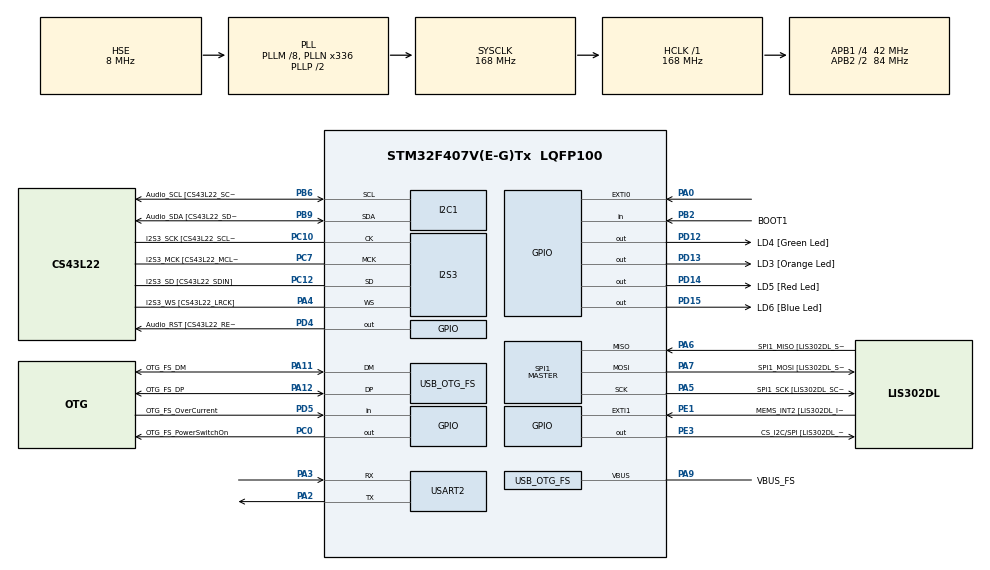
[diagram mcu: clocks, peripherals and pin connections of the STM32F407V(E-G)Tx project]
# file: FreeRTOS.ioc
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FREERTOS.Tasks01=defaultTask,24,128,StartDefaultTask,Default,NULL,Dynamic,NULL,NULL
I2S3.AudioFreq-Half_Duplex_Master=I2S_AUDIOFREQ_96K
I2S3.ErrorAudioFreq=-2.34 %
I2S3.ErrorAudioFreq-Half_Duplex_Master=0.8 %
I2S3.FullDuplexMode=I2S_FULLDUPLEXMODE_DISABLE
I2S3.Instance=SPI$Index
I2S3.RealAudioFreq=93.75 KHz
I2S3.RealAudioFreq-Half_Duplex_Master=96.774 KHz
I2S3.VirtualMode=I2S_MODE_MASTER
Mcu.Family=STM32F4
Mcu.Name=STM32F407V(E-G)Tx
Mcu.Package=LQFP100
NVIC.EXTI0_IRQn=true\:0\:0\:false\:false\:true\:false\:true\:true
NVIC.OTG_FS_IRQn=true\:0\:0\:false\:false\:true\:false\:true\:true
NVIC.PriorityGroup=NVIC_PRIORITYGROUP_4
NVIC.TIM4_IRQn=true\:0\:0\:false\:false\:true\:false\:false\:true
NVIC.TIM7_IRQn=true\:0\:0\:false\:false\:true\:false\:true\:true
NVIC.TimeBase=TIM4_IRQn
NVIC.TimeBaseIP=TIM4
NVIC.USART2_IRQn=true\:0\:0\:false\:false\:true\:false\:true\:true
PA0-WKUP.Signal=GPXTI0
PA10.GPIO_Label=OTG_FS_ID
PA10.GPIO_Mode=GPIO_MODE_AF_PP
PA10.GPIO_PuPd=GPIO_NOPULL
PA10.GPIO_Speed=GPIO_SPEED_FREQ_LOW
PA10.Signal=USB_OTG_FS_ID
PA11.GPIO_Label=OTG_FS_DM
PA11.GPIO_Mode=GPIO_MODE_AF_PP
PA11.GPIO_PuPd=GPIO_NOPULL
PA11.GPIO_Speed=GPIO_SPEED_FREQ_LOW
PA11.Mode=Host_Only
PA11.Signal=USB_OTG_FS_DM
PA12.GPIO_Label=OTG_FS_DP
PA12.GPIO_Mode=GPIO_MODE_AF_PP
PA12.GPIO_PuPd=GPIO_NOPULL
PA12.GPIO_Speed=GPIO_SPEED_FREQ_LOW
PA12.Mode=Host_Only
PA12.Signal=USB_OTG_FS_DP
PA13.GPIO_Label=SWDIO
PA13.Mode=Serial_Wire
PA13.Signal=SYS_JTMS-SWDIO
PA14.GPIO_Label=SWCLK
PA14.Mode=Serial_Wire
PA14.Signal=SYS_JTCK-SWCLK
PA2.Mode=Asynchronous
PA2.Signal=USART2_TX
PA3.Mode=Asynchronous
PA3.Signal=USART2_RX
PA4.GPIO_Label=I2S3_WS [CS43L22_LRCK]
PA4.GPIO_Mode=GPIO_MODE_AF_PP
PA4.GPIO_PuPd=GPIO_NOPULL
PA4.GPIO_Speed=GPIO_SPEED_FREQ_LOW
PA4.Mode=Half_Duplex_Master
PA4.Signal=I2S3_WS
PA5.GPIO_Label=SPI1_SCK [LIS302DL_SCL/SPC]
PA5.GPIO_Mode=GPIO_MODE_AF_PP
PA5.GPIO_PuPd=GPIO_NOPULL
PA5.GPIO_Speed=GPIO_SPEED_FREQ_LOW
PA5.Mode=Full_Duplex_Master
PA5.Signal=SPI1_SCK
PA6.GPIO_Label=SPI1_MISO [LIS302DL_SDO]
PA6.GPIO_Mode=GPIO_MODE_AF_PP
PA6.GPIO_PuPd=GPIO_NOPULL
PA6.GPIO_Speed=GPIO_SPEED_FREQ_LOW
PA6.Mode=Full_Duplex_Master
PA6.Signal=SPI1_MISO
PA7.GPIO_Label=SPI1_MOSI [LIS302DL_SDA/SDI/SDO]
PA7.GPIO_Mode=GPIO_MODE_AF_PP
PA7.GPIO_PuPd=GPIO_NOPULL
PA7.GPIO_Speed=GPIO_SPEED_FREQ_LOW
PA7.Mode=Full_Duplex_Master
PA7.Signal=SPI1_MOSI
PA9.GPIO_Label=VBUS_FS
PA9.GPIO_Mode=GPIO_MODE_INPUT
PA9.GPIO_PuPd=GPIO_NOPULL
PA9.Mode=Activate_VBUS
PA9.Signal=USB_OTG_FS_VBUS
PB10.GPIO_Label=CLK_IN [MP45DT02_CLK]
PB10.GPIO_Mode=GPIO_MODE_AF_PP
PB10.GPIO_PuPd=GPIO_NOPULL
PB10.GPIO_Speed=GPIO_SPEED_FREQ_LOW
PB10.Signal=I2S2_CK
PB2.GPIO_Label=BOOT1
PB2.GPIO_Mode=GPIO_MODE_INPUT
PB2.GPIO_PuPd=GPIO_NOPULL
PB2.Signal=GPIO_Input
PB3.GPIO_Label=SWO
PB3.Signal=SYS_JTDO-SWO
PB6.GPIO_Label=Audio_SCL [CS43L22_SCL]
PB6.GPIO_Mode=GPIO_MODE_AF_OD
PB6.GPIO_PuPd=GPIO_NOPULL
PB6.GPIO_Speed=GPIO_SPEED_FREQ_LOW
PB6.Mode=I2C
PB6.Signal=I2C1_SCL
PB9.GPIO_Label=Audio_SDA [CS43L22_SDA]
PB9.GPIO_Mode=GPIO_MODE_AF_OD
PB9.GPIO_PuPd=GPIO_NOPULL
PB9.GPIO_Speed=GPIO_SPEED_FREQ_LOW
PB9.Mode=I2C
PB9.Signal=I2C1_SDA
PC0.GPIO_Label=OTG_FS_PowerSwitchOn
PC0.GPIO_PuPd=GPIO_NOPULL
PC0.GPIO_Speed=GPIO_SPEED_FREQ_LOW
PC0.PinState=GPIO_PIN_SET
PC0.Signal=GPIO_Output
PC10.GPIO_Label=I2S3_SCK [CS43L22_SCLK]
PC10.GPIO_Mode=GPIO_MODE_AF_PP
PC10.GPIO_PuPd=GPIO_NOPULL
PC10.GPIO_Speed=GPIO_SPEED_FREQ_LOW
PC10.Mode=Half_Duplex_Master
PC10.Signal=I2S3_CK
PC12.GPIO_Label=I2S3_SD [CS43L22_SDIN]
PC12.GPIO_Mode=GPIO_MODE_AF_PP
PC12.GPIO_PuPd=GPIO_NOPULL
PC12.GPIO_Speed=GPIO_SPEED_FREQ_LOW
PC12.Mode=Half_Duplex_Master
PC12.Signal=I2S3_SD
PC14-OSC32_IN.GPIO_Label=PC14-OSC32_IN
PC14-OSC32_IN.Signal=RCC_OSC32_IN
PC15-OSC32_OUT.GPIO_Label=PC15-OSC32_OUT
PC15-OSC32_OUT.Signal=RCC_OSC32_OUT
PC3.GPIO_Label=PDM_OUT [MP45DT02_DOUT]
PC3.GPIO_Mode=GPIO_MODE_AF_PP
PC3.GPIO_PuPd=GPIO_NOPULL
PC3.GPIO_Speed=GPIO_SPEED_FREQ_LOW
PC3.Signal=I2S2_SD
PC7.GPIO_Label=I2S3_MCK [CS43L22_MCLK]
PC7.GPIO_Mode=GPIO_MODE_AF_PP
PC7.GPIO_PuPd=GPIO_NOPULL
PC7.GPIO_Speed=GPIO_SPEED_FREQ_LOW
PC7.Mode=Master_Clock_Activated
PC7.Signal=I2S3_MCK
PD12.GPIO_Label=LD4 [Green Led]
PD12.GPIO_PuPd=GPIO_NOPULL
PD12.GPIO_Speed=GPIO_SPEED_FREQ_LOW
PD12.Signal=GPIO_Output
PD13.GPIO_Label=LD3 [Orange Led]
PD13.GPIO_PuPd=GPIO_NOPULL
PD13.GPIO_Speed=GPIO_SPEED_FREQ_LOW
PD13.Signal=GPIO_Output
PD14.GPIO_Label=LD5 [Red Led]
PD14.GPIO_PuPd=GPIO_NOPULL
PD14.GPIO_Speed=GPIO_SPEED_FREQ_LOW
PD14.Signal=GPIO_Output
PD15.GPIO_Label=LD6 [Blue Led]
PD15.GPIO_PuPd=GPIO_NOPULL
PD15.GPIO_Speed=GPIO_SPEED_FREQ_LOW
PD15.Signal=GPIO_Output
PD4.GPIO_Label=Audio_RST [CS43L22_RESET]
PD4.GPIO_PuPd=GPIO_NOPULL
PD4.GPIO_Speed=GPIO_SPEED_FREQ_LOW
PD4.Signal=GPIO_Output
PD5.GPIO_Label=OTG_FS_OverCurrent
PD5.GPIO_Mode=GPIO_MODE_INPUT
PD5.GPIO_PuPd=GPIO_NOPULL
PD5.Signal=GPIO_Input
PE1.GPIO_Label=MEMS_INT2 [LIS302DL_INT2]
PE1.GPIO_ModeDefaultEXTI=GPIO_MODE_EVT_RISING
PE1.GPIO_PuPd=GPIO_NOPULL
PE1.Signal=GPXTI1
PE3.GPIO_Label=CS_I2C/SPI [LIS302DL_CS_I2C/SPI]
PE3.GPIO_PuPd=GPIO_NOPULL
PE3.GPIO_Speed=GPIO_SPEED_FREQ_LOW
PE3.Signal=GPIO_Output
PH0-OSC_IN.GPIO_Label=PH0-OSC_IN
PH0-OSC_IN.Mode=HSE-External-Oscillator
PH0-OSC_IN.Signal=RCC_OSC_IN
PH1-OSC_OUT.GPIO_Label=PH1-OSC_OUT
PH1-OSC_OUT.Mode=HSE-External-Oscillator
PH1-OSC_OUT.Signal=RCC_OSC_OUT
ProjectManager.HeapSize=0x200
ProjectManager.StackSize=0x400
ProjectManager.TargetToolchain=TrueSTUDIO
RCC.48MHZClocksFreq_Value=48000000
RCC.AHBFreq_Value=168000000
RCC.APB1CLKDivider=RCC_HCLK_DIV4
RCC.APB1Freq_Value=42000000
RCC.APB1TimFreq_Value=84000000
RCC.APB2CLKDivider=RCC_HCLK_DIV2
RCC.APB2Freq_Value=84000000
RCC.APB2TimFreq_Value=168000000
RCC.CortexFreq_Value=168000000
RCC.HCLKFreq_Value=168000000
RCC.HSE_VALUE=8000000
RCC.HSI_VALUE=16000000
RCC.LSE_VALUE=32768
RCC.PLLM=8
RCC.PLLN=336
RCC.PLLQ=7
RCC.SYSCLKFreq_VALUE=168000000
RCC.SYSCLKSource=RCC_SYSCLKSOURCE_PLLCLK
RCC.VCOOutputFreq_Value=336000000
SPI1.BaudRatePrescaler-Full_Duplex_Master=SPI_BAUDRATEPRESCALER_2
SPI1.CalculateBaudRate-Full_Duplex_Master=42.0 MBits/s
SPI1.Direction=SPI_DIRECTION_2LINES
SPI1.Mode=SPI_MODE_MASTER
SPI1.Mode-Full_Duplex_Master=SPI_MODE_MASTER
SPI1.VirtualType=VM_MASTER
TIM7.AutoReloadPreload=TIM_AUTORELOAD_PRELOAD_ENABLE
TIM7.Period=8399
TIM7.Prescaler=9999
USART2.VirtualMode=VM_ASYNC
USB_HOST.BSP.number=1
USB_HOST.USBH_HandleTypeDef-CDC_FS=hUsbHostFS
USB_HOST.VirtualModeFS=Cdc
USB_HOST0.BSP.STBoard=false
USB_HOST0.BSP.api=Unknown
USB_HOST0.BSP.i2caddr=0
USB_HOST0.BSP.i2creg=0
USB_HOST0.BSP.instance=PC0
USB_HOST0.BSP.ip=GPIO
USB_HOST0.BSP.mode=Output
USB_HOST0.BSP.name=Drive_VBUS_FS
USB_HOST0.BSP.solution=PC0
USB_OTG_FS.VirtualMode=Host_Only
USB_OTG_FS.phy_itface=HCD_PHY_EMBEDDED
VP_FREERTOS_VS_CMSIS_V2.Mode=CMSIS_V2
VP_SYS_VS_tim4.Mode=TIM4
VP_TIM7_VS_ClockSourceINT.Mode=Enable_Timer
VP_USB_HOST_VS_USB_HOST_CDC_FS.Mode=CDC_FS
board=STM32F407G-DISC1

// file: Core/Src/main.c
/* USER CODE BEGIN Header */
/**
  ******************************************************************************
  * @file           : main.c
  * @brief          : Main program body
  ******************************************************************************
  * @attention
  *
  * <h2><center>&copy; Copyright (c) 2020 STMicroelectronics.
  * All rights reserved.</center></h2>
  *
  * This software component is licensed by ST under Ultimate Liberty license
  * SLA0044, the "License"; You may not use this file except in compliance with
  * the License. You may obtain a copy of the License at:
  *                             www.st.com/SLA0044
  *
  ******************************************************************************
  */
/* USER CODE END Header */
#include "main.h"
#include "cmsis_os.h"
#include "i2c.h"
#include "i2s.h"
#include "spi.h"
#include "tim.h"
#include "usart.h"
#include "usb_host.h"
#include "gpio.h"

/* USER CODE BEGIN Includes */
#include <stdio.h>
/* USER CODE END Includes */

/* USER CODE BEGIN PD */
#define	UART_BUFFER_SIZE	10
#define	UART_TIMEOUT		10
/* USER CODE END PD */

/* USER CODE BEGIN PV */
uint8_t	uart2_rx_data[UART_BUFFER_SIZE];
/* USER CODE END PV */

void SystemClock_Config(void);
void MX_FREERTOS_Init(void);

/* USER CODE BEGIN 0 */
int	_write(int file,char* p,int len)
{
	HAL_UART_Transmit(&huart2,p,len,UART_TIMEOUT);
	return	len;
}

void HAL_UART_RxCpltCallback(UART_HandleTypeDef *huart)
{
	if( huart->Instance == USART2 )
	{
		HAL_UART_Receive_IT(&huart2,uart2_rx_data,UART_BUFFER_SIZE);
		HAL_UART_Transmit(&huart2,uart2_rx_data,UART_BUFFER_SIZE,UART_TIMEOUT);
	}
}
/* USER CODE END 0 */

int main(void)
{

  /* MCU Configuration--------------------------------------------------------*/

  /* Reset of all peripherals, Initializes the Flash interface and the Systick. */
  HAL_Init();

  /* Configure the system clock */
  SystemClock_Config();

  /* Initialize all configured peripherals */
  MX_GPIO_Init();
  MX_I2C1_Init();
  MX_I2S3_Init();
  MX_SPI1_Init();
  MX_USART2_UART_Init();
  MX_TIM7_Init();

  /* Init scheduler */
  osKernelInitialize();  /* Call init function for freertos objects (in freertos.c) */
  MX_FREERTOS_Init();
  /* Start scheduler */
  osKernelStart();

  /* We should never get here as control is now taken by the scheduler */
  /* Infinite loop */
  while (1)
  {

  }
}

void SystemClock_Config(void)
{
  RCC_OscInitTypeDef RCC_OscInitStruct = {0};
  RCC_ClkInitTypeDef RCC_ClkInitStruct = {0};
  RCC_PeriphCLKInitTypeDef PeriphClkInitStruct = {0};

  /** Configure the main internal regulator output voltage
  */
  __HAL_RCC_PWR_CLK_ENABLE();
  __HAL_PWR_VOLTAGESCALING_CONFIG(PWR_REGULATOR_VOLTAGE_SCALE1);
  /** Initializes the RCC Oscillators according to the specified parameters
  * in the RCC_OscInitTypeDef structure.
  */
  RCC_OscInitStruct.OscillatorType = RCC_OSCILLATORTYPE_HSE;
  RCC_OscInitStruct.HSEState = RCC_HSE_ON;
  RCC_OscInitStruct.PLL.PLLState = RCC_PLL_ON;
  RCC_OscInitStruct.PLL.PLLSource = RCC_PLLSOURCE_HSE;
  RCC_OscInitStruct.PLL.PLLM = 8;
  RCC_OscInitStruct.PLL.PLLN = 336;
  RCC_OscInitStruct.PLL.PLLP = RCC_PLLP_DIV2;
  RCC_OscInitStruct.PLL.PLLQ = 7;
  if (HAL_RCC_OscConfig(&RCC_OscInitStruct) != HAL_OK)
  {
    Error_Handler();
  }
  /** Initializes the CPU, AHB and APB buses clocks
  */
  RCC_ClkInitStruct.ClockType = RCC_CLOCKTYPE_HCLK|RCC_CLOCKTYPE_SYSCLK
                              |RCC_CLOCKTYPE_PCLK1|RCC_CLOCKTYPE_PCLK2;
  RCC_ClkInitStruct.SYSCLKSource = RCC_SYSCLKSOURCE_PLLCLK;
  RCC_ClkInitStruct.AHBCLKDivider = RCC_SYSCLK_DIV1;
  RCC_ClkInitStruct.APB1CLKDivider = RCC_HCLK_DIV4;
  RCC_ClkInitStruct.APB2CLKDivider = RCC_HCLK_DIV2;

  if (HAL_RCC_ClockConfig(&RCC_ClkInitStruct, FLASH_LATENCY_5) != HAL_OK)
  {
    Error_Handler();
  }
  PeriphClkInitStruct.PeriphClockSelection = RCC_PERIPHCLK_I2S;
  PeriphClkInitStruct.PLLI2S.PLLI2SN = 192;
  PeriphClkInitStruct.PLLI2S.PLLI2SR = 2;
  if (HAL_RCCEx_PeriphCLKConfig(&PeriphClkInitStruct) != HAL_OK)
  {
    Error_Handler();
  }
}

void HAL_TIM_PeriodElapsedCallback(TIM_HandleTypeDef *htim)
{
  if (htim->Instance == TIM4) {
    HAL_IncTick();
  }
}

void Error_Handler(void)
{
}

/************************ (C) COPYRIGHT STMicroelectronics *****END OF FILE****/

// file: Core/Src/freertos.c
/* USER CODE BEGIN Header */
/**
  ******************************************************************************
  * File Name          : freertos.c
  * Description        : Code for freertos applications
  ******************************************************************************
  * @attention
  *
  * <h2><center>&copy; Copyright (c) 2020 STMicroelectronics.
  * All rights reserved.</center></h2>
  *
  * This software component is licensed by ST under Ultimate Liberty license
  * SLA0044, the "License"; You may not use this file except in compliance with
  * the License. You may obtain a copy of the License at:
  *                             www.st.com/SLA0044
  *
  ******************************************************************************
  */
/* USER CODE END Header */

#include "FreeRTOS.h"
#include "task.h"
#include "main.h"
#include "cmsis_os.h"

/* USER CODE BEGIN Includes */
#include <stdio.h>
/* USER CODE END Includes */

/* USER CODE BEGIN PD */
#define	MAX_STATE		2
#define	MAX_STR_SIZE	10
#define	NUM_OF_LD		4
#define	GPIO_LD			GPIOD

#define	get_prev_ld(current)	(((current)+(NUM_OF_LD)-1)%(NUM_OF_LD))
#define	get_next_ld(current)	(((current)+1)%(NUM_OF_LD))
/* USER CODE END PD */

/* USER CODE BEGIN Variables */
const uint8_t	state[MAX_STATE][MAX_STR_SIZE] = {"OFF","ON"};
const uint16_t	LD_GPIO_Pin[NUM_OF_LD] = {GPIO_PIN_12,GPIO_PIN_13,GPIO_PIN_14,GPIO_PIN_15};
const uint32_t	LD_ON_time[NUM_OF_LD] = {300,500,700,1100};
/* USER CODE END Variables */
/* Definitions for defaultTask */
osThreadId_t defaultTaskHandle;
const osThreadAttr_t defaultTask_attributes = {
  .name = "defaultTask",
  .priority = (osPriority_t) osPriorityNormal,
  .stack_size = 128 * 4
};

osThreadId_t LD3TaskHandle;
const osThreadAttr_t LD3Task_attributes = {
  .name = "LD3Task",
  .priority = (osPriority_t) osPriorityNormal,
  .stack_size = 128 * 4
};

osThreadId_t LD4TaskHandle;
const osThreadAttr_t LD4Task_attributes = {
  .name = "LD4Task",
  .priority = (osPriority_t) osPriorityNormal,
  .stack_size = 128 * 4
};

osThreadId_t LDBlinkTaskHandle;
const osThreadAttr_t LDBlinkTask_attributes = {
  .name = "LDBlinkTask",
  .priority = (osPriority_t) osPriorityNormal,
  .stack_size = 128 * 4
};

/* USER CODE BEGIN FunctionPrototypes */
void LD3Task(void* argument);
void LD4Task(void* argument);
void LDBlinkTask(void* argument);
/* USER CODE END FunctionPrototypes */

void StartDefaultTask(void *argument);

extern void MX_USB_HOST_Init(void);
void MX_FREERTOS_Init(void); /* (MISRA C 2004 rule 8.1) */

void MX_FREERTOS_Init(void) {

  /* Create the thread(s) */
  /* creation of defaultTask */
  defaultTaskHandle = osThreadNew(StartDefaultTask, NULL, &defaultTask_attributes);

  /* USER CODE BEGIN RTOS_THREADS */
  //LD3TaskHandle = osThreadNew(LD3Task, NULL, &LD3Task_attributes);
  //printf("LD3Task has been created\n");
  //LD4TaskHandle = osThreadNew(LD4Task, NULL, &LD4Task_attributes);
  //printf("LD4Task has been created\n");
  LDBlinkTaskHandle = osThreadNew(LDBlinkTask, NULL, &LDBlinkTask_attributes);
  printf("LDBlinkTask has been created\n");
  /* add threads, ... */
  /* USER CODE END RTOS_THREADS */

}

void StartDefaultTask(void *argument)
{
  /* init code for USB_HOST */
  MX_USB_HOST_Init();
  for(;;)
  {
    osDelay(1);
  }
}

/* USER CODE BEGIN Application */
void LD3Task(void* argument)
{
  for(;;)
  {
	HAL_GPIO_TogglePin(GPIOD,GPIO_PIN_13);
	printf("LD3 %s\n",&state[HAL_GPIO_ReadPin(GPIOD,GPIO_PIN_13)][0]);
    osDelay(500);
  }
}

void LD4Task(void* argument)
{
  for(;;)
  {
	HAL_GPIO_TogglePin(GPIOD,GPIO_PIN_12);
	printf("LD4 %s\n",&state[HAL_GPIO_ReadPin(GPIOD,GPIO_PIN_12)][0]);
    osDelay(700);
  }
}

void LDBlinkTask(void* argument)
{
  int	current = 0;

  HAL_GPIO_TogglePin(GPIO_LD,LD_GPIO_Pin[current]);
  printf("STM32CubeIDE 1.5.0 %d\n",current);
  osDelay(LD_ON_time[current]);

  for(;;)
  {
	HAL_GPIO_TogglePin(GPIO_LD,LD_GPIO_Pin[current]);
	current=get_next_ld(current);
	HAL_GPIO_TogglePin(GPIO_LD,LD_GPIO_Pin[current]);
	printf("STM32CubeIDE 1.5.0 %d\n",current);
	osDelay(LD_ON_time[current]);
  }
  /* USER CODE END StartDefaultTask */
}
/* USER CODE END Application */

/************************ (C) COPYRIGHT STMicroelectronics *****END OF FILE****/
